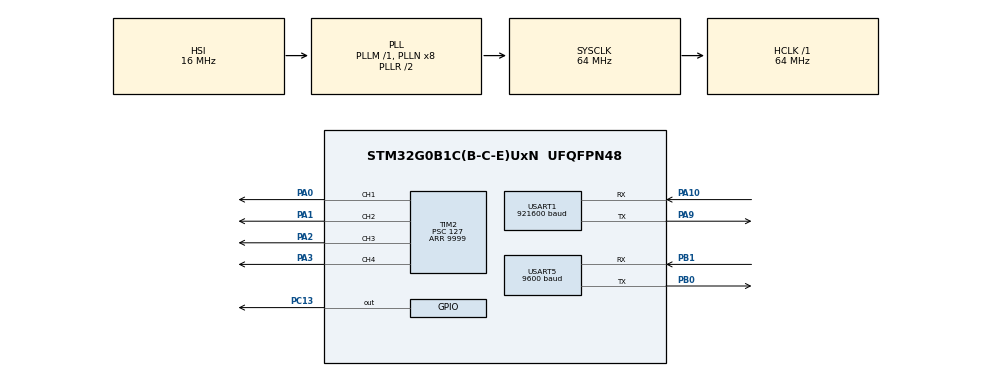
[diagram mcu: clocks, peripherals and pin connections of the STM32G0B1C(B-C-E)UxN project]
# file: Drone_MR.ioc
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Dma.Request0=USART1_RX
Dma.Request1=USART5_RX
Dma.USART1_RX.0.Direction=DMA_PERIPH_TO_MEMORY
Dma.USART1_RX.0.EventEnable=DISABLE
Dma.USART1_RX.0.Instance=DMA1_Channel1
Dma.USART1_RX.0.MemDataAlignment=DMA_MDATAALIGN_BYTE
Dma.USART1_RX.0.MemInc=DMA_MINC_ENABLE
Dma.USART1_RX.0.Mode=DMA_CIRCULAR
Dma.USART1_RX.0.PeriphDataAlignment=DMA_PDATAALIGN_BYTE
Dma.USART1_RX.0.PeriphInc=DMA_PINC_DISABLE
Dma.USART1_RX.0.Polarity=HAL_DMAMUX_REQ_GEN_RISING
Dma.USART1_RX.0.Priority=DMA_PRIORITY_LOW
Dma.USART1_RX.0.RequestNumber=1
Dma.USART1_RX.0.SignalID=NONE
Dma.USART1_RX.0.SyncEnable=DISABLE
Dma.USART1_RX.0.SyncPolarity=HAL_DMAMUX_SYNC_NO_EVENT
Dma.USART1_RX.0.SyncRequestNumber=1
Dma.USART1_RX.0.SyncSignalID=NONE
Dma.USART5_RX.1.Direction=DMA_PERIPH_TO_MEMORY
Dma.USART5_RX.1.EventEnable=DISABLE
Dma.USART5_RX.1.Instance=DMA1_Channel2
Dma.USART5_RX.1.MemDataAlignment=DMA_MDATAALIGN_BYTE
Dma.USART5_RX.1.MemInc=DMA_MINC_ENABLE
Dma.USART5_RX.1.Mode=DMA_NORMAL
Dma.USART5_RX.1.PeriphDataAlignment=DMA_PDATAALIGN_BYTE
Dma.USART5_RX.1.PeriphInc=DMA_PINC_DISABLE
Dma.USART5_RX.1.Polarity=HAL_DMAMUX_REQ_GEN_RISING
Dma.USART5_RX.1.Priority=DMA_PRIORITY_LOW
Dma.USART5_RX.1.RequestNumber=1
Dma.USART5_RX.1.SignalID=NONE
Dma.USART5_RX.1.SyncEnable=DISABLE
Dma.USART5_RX.1.SyncPolarity=HAL_DMAMUX_SYNC_NO_EVENT
Dma.USART5_RX.1.SyncRequestNumber=1
Dma.USART5_RX.1.SyncSignalID=NONE
Mcu.Family=STM32G0
Mcu.Name=STM32G0B1C(B-C-E)UxN
Mcu.Package=UFQFPN48
NVIC.DMA1_Channel1_IRQn=true\:0\:0\:false\:false\:true\:false\:true\:true
NVIC.DMA1_Channel2_3_IRQn=true\:0\:0\:false\:false\:true\:false\:true\:true
PA0.Signal=S_TIM2_CH1_ETR
PA1.Signal=S_TIM2_CH2
PA10.Mode=Asynchronous
PA10.Signal=USART1_RX
PA2.Signal=S_TIM2_CH3
PA3.Signal=S_TIM2_CH4
PA9.Mode=Asynchronous
PA9.Signal=USART1_TX
PB0.Mode=Asynchronous
PB0.Signal=USART5_TX
PB1.Mode=Asynchronous
PB1.Signal=USART5_RX
PC13.Signal=GPIO_Output
ProjectManager.HeapSize=0x200
ProjectManager.StackSize=0x400
ProjectManager.TargetToolchain=STM32CubeIDE
RCC.ADCFreq_Value=64000000
RCC.AHBFreq_Value=64000000
RCC.CortexFreq_Value=64000000
RCC.EXTERNAL_CLOCK_VALUE=48000
RCC.HCLKFreq_Value=64000000
RCC.HSE_VALUE=8000000
RCC.HSI48_VALUE=48000000
RCC.HSI_VALUE=16000000
RCC.LSE_VALUE=32768
RCC.SYSCLKFreq_VALUE=64000000
RCC.SYSCLKSource=RCC_SYSCLKSOURCE_PLLCLK
RCC.USBFreq_Value=48000000
RCC.VCOOutputFreq_Value=128000000
SH.S_TIM2_CH1_ETR.0=TIM2_CH1,PWM Generation1 CH1
SH.S_TIM2_CH2.0=TIM2_CH2,PWM Generation2 CH2
SH.S_TIM2_CH3.0=TIM2_CH3,PWM Generation3 CH3
SH.S_TIM2_CH4.0=TIM2_CH4,PWM Generation4 CH4
TIM2.Channel-PWM\ Generation1\ CH1=TIM_CHANNEL_1
TIM2.Channel-PWM\ Generation2\ CH2=TIM_CHANNEL_2
TIM2.Channel-PWM\ Generation3\ CH3=TIM_CHANNEL_3
TIM2.Channel-PWM\ Generation4\ CH4=TIM_CHANNEL_4
TIM2.Period=9999
TIM2.Prescaler=127
USART1.BaudRate=921600
USART1.VirtualMode-Asynchronous=VM_ASYNC
USART5.BaudRate=9600
USART5.VirtualMode-Asynchronous=VM_ASYNC
VP_SYS_VS_DBSignals.Mode=DisableDeadBatterySignals
VP_TIM1_VS_ClockSourceINT.Mode=Internal
VP_TIM2_VS_ClockSourceINT.Mode=Internal
board=custom

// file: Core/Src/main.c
/* USER CODE BEGIN Header */
/**
  ******************************************************************************
  * @file           : main.c
  * @brief          : Main program body
  ******************************************************************************
  * @attention
  *
  * Copyright (c) 2023 STMicroelectronics.
  * All rights reserved.
  *
  * This software is licensed under terms that can be found in the LICENSE file
  * in the root directory of this software component.
  * If no LICENSE file comes with this software, it is provided AS-IS.
  *
  ******************************************************************************
  */
/* USER CODE END Header */
#include "main.h"

/* USER CODE BEGIN Includes */
#include "PID.h"
#include "‏‏PID_Tune_Online .h"
#include "../ESC_Initializationn/ESC_Initialization.h"
#include "Draw_Parameter.h"

#define OK1  0
#define OK2  0
#define OK3  1

int16_t m[8];
float dt,Loop_time,end_time,start_time;
float p_y,i_y,d_y,error_y,perror_y;
float p_x,i_x,d_x,error_x,perror_x;
int angle_x,angle_y,angle_z,w_x,w_y,w_z;
int pid_x,pid_y;
pid_Status pidx ;
pidA_Status pidy ;

float kpa =0 ,kia =0,kda =0;
float kpb =0 ,kib =0,kdb =0;
int data[1];

#if(OK3==1)

float s_y,u_y;
int sgn_y ;

float s_x,u_x;
int sgn_x ;

float s_z,u_z;
int sgn_z,zz ;

#endif
/* USER CODE END Includes */

/* USER CODE BEGIN PD */
#define Resolution 3
#define Normal_speed 750
#define c_y 3
#define k_y 3
#define q_y 0.01
#define c_x 1
#define k_x 1
#define q_x 1
#define c_z 1
#define k_z 1
#define q_z 1
#define mm 0.8
#define gg 9.8

/* USER CODE END PD */

 TIM_HandleTypeDef htim1;
TIM_HandleTypeDef htim2;

UART_HandleTypeDef huart1;
UART_HandleTypeDef huart5;
DMA_HandleTypeDef hdma_usart1_rx;
DMA_HandleTypeDef hdma_usart5_rx;

void SystemClock_Config(void);
static void MX_GPIO_Init(void);
static void MX_DMA_Init(void);
static void MX_USART1_UART_Init(void);
static void MX_TIM2_Init(void);
static void MX_TIM1_Init(void);
static void MX_USART5_UART_Init(void);

int main(void)
{

  /* MCU Configuration--------------------------------------------------------*/

  /* Reset of all peripherals, Initializes the Flash interface and the Systick. */
  HAL_Init();

  /* Configure the system clock */
  SystemClock_Config();

  /* Initialize all configured peripherals */
  MX_GPIO_Init();
  MX_DMA_Init();
  MX_USART1_UART_Init();
  MX_TIM2_Init();
  MX_TIM1_Init();
  MX_USART5_UART_Init();
  /* USER CODE BEGIN 2 */

//  HAL_UART_Receive_DMA(&huart1, &m[0], 16);

//  ESC_Initialization();

  /* USER CODE END 2 */

  /* Infinite loop */
  /* USER CODE BEGIN WHILE */

  dw[3]=dw[1]=dw[2]=48;

  HAL_GPIO_WritePin(GPIOC, GPIO_PIN_13, SET);
  while (1)
  {

	  HAL_UART_Receive_DMA(&huart1, &m[0],16);
//	  HAL_UART_Receive(&huart1, &m[0],16, 0xffff);

	  angle_x=m[0];
	  angle_y=m[1];
	  angle_z=m[2];
	  w_x=m[3];
	  w_y=m[4];
	  w_z=m[5];

	  start_time=HAL_GetTick();

#if (OK1==1)

	  HAL_Delay(1);

pidx=	  PID_CONTROL(0.8, 0.1, 0.0, -5, m[1], Resolution, dt, &p_x, &i_x, &d_x, &error_x);

	  pid_x=p_x+i_x+d_x;

	  	  htim2.Instance->CCR4 = Normal_speed+pid_x;

	  	  htim2.Instance->CCR3 = Normal_speed+pid_x;

	  	  htim2.Instance->CCR1 = Normal_speed-pid_x;

	  	  htim2.Instance->CCR2 = Normal_speed-pid_x;

pidy=	  PIDA_CONTROL(2.0, 0.8, 0.001, 0, angle_y, Resolution, dt, &p_y, &i_y, &d_y, &error_y);

	  pid_y=p_y+i_y+d_y;

	      htim2.Instance->CCR4 = Normal_speed+pid_x;

	  	  htim2.Instance->CCR3 = Normal_speed+pid_x;

	  	  htim2.Instance->CCR1 = Normal_speed-pid_x;

	  	  htim2.Instance->CCR2 = Normal_speed-pid_x;

	  htim2.Instance->CCR3=max(htim2.Instance->CCR3, 750, 600);

	  htim2.Instance->CCR2=max(htim2.Instance->CCR2, 750, 600);

	  htim2.Instance->CCR4=max(htim2.Instance->CCR4, 750, 600);

	  htim2.Instance->CCR1=max(htim2.Instance->CCR1, 750, 600);

#endif

#if(OK2==1)

	  angle_x=m[0];
	  angle_y=m[1];
	  angle_z=m[2];
	  w_x=m[3];
	  w_y=m[4];
	  w_z=m[5];

	  PID_CONTROL(2.5, 0, 0.0, -6, angle_y, 2, dt, &p_x, &i_x, &d_x, &error_x);

	  pid_x=p_x+i_x+d_x;

	  PIDA_CONTROL(0.2, 0.2, 0, pid_x, w_y, 3, dt, &p_y, &i_y, &d_y, &error_y);

	  pid_y=p_y+i_y+d_y;

  	  htim2.Instance->CCR4 = Normal_speed+pid_y;

  	  htim2.Instance->CCR3 = Normal_speed+pid_y;

  	  htim2.Instance->CCR1 = Normal_speed-pid_y;

  	  htim2.Instance->CCR2 = Normal_speed-pid_y;

	  htim2.Instance->CCR3=max(htim2.Instance->CCR3, 750, 600);

	  htim2.Instance->CCR2=max(htim2.Instance->CCR2, 750, 600);

	  htim2.Instance->CCR4=max(htim2.Instance->CCR4, 750, 600);

	  htim2.Instance->CCR1=max(htim2.Instance->CCR1, 750, 600);

#endif

#if(OK3==1)

	  s_y=(-w_y)+(c_y* (10-angle_y) );
	  if(s_y>0)
	  {sgn_y=1;}
	  if(s_y<0)
	  {sgn_y=-1;}
	  if(s_y==0)
	  {sgn_y=0;}
	  u_y=0.052233*((-0.80855*w_x*w_z)+(0.001631*w_x)-(c_y*w_y)+(k_y*s_y)+(q_y*sgn_y));

	  htim2.Instance->CCR4 = Normal_speed+u_y;

	  htim2.Instance->CCR3 = Normal_speed+u_y;

	  htim2.Instance->CCR1 = Normal_speed-u_y;

	  htim2.Instance->CCR2 = Normal_speed-u_y;

	  data[0]=angle_y;

	  drow(m[1], start_time);

	  HAL_UART_Transmit(&huart5, &data[0], 1, 0xffff);

	  s_x=(-w_x)+(c_x* - angle_x);
	  if(s_x>0)
	  {sgn_x=1;}
	  if(s_x<0)
	  {sgn_x=-1;}
	  if(s_x==0)
	  {sgn_x=0;}
	  u_x=0.052233*((-0.80855*w_y*w_z)-(0.003835*w_y)-(c_x*w_x)+(k_x*s_x)+(q_x*sgn_x));

	  s_z=c_z*(0-zz);
	  if(s_z>0)
	  {sgn_z=1;}
  	  if(s_z<0)
	  {sgn_z=-1;}
	  if(s_z==0)
	  {sgn_z=0;}
	  u_z=mm*(gg+(k_z*s_z)+(q_z*sgn_z*s_z));

#endif

	  end_time=HAL_GetTick();

	  Loop_time=end_time-start_time;

	  dt=Loop_time/1000;

    /* USER CODE END WHILE */

  }
}

void SystemClock_Config(void)
{
  RCC_OscInitTypeDef RCC_OscInitStruct = {0};
  RCC_ClkInitTypeDef RCC_ClkInitStruct = {0};

  /** Configure the main internal regulator output voltage
  */
  HAL_PWREx_ControlVoltageScaling(PWR_REGULATOR_VOLTAGE_SCALE1);

  /** Initializes the RCC Oscillators according to the specified parameters
  * in the RCC_OscInitTypeDef structure.
  */
  RCC_OscInitStruct.OscillatorType = RCC_OSCILLATORTYPE_HSI;
  RCC_OscInitStruct.HSIState = RCC_HSI_ON;
  RCC_OscInitStruct.HSIDiv = RCC_HSI_DIV1;
  RCC_OscInitStruct.HSICalibrationValue = RCC_HSICALIBRATION_DEFAULT;
  RCC_OscInitStruct.PLL.PLLState = RCC_PLL_ON;
  RCC_OscInitStruct.PLL.PLLSource = RCC_PLLSOURCE_HSI;
  RCC_OscInitStruct.PLL.PLLM = RCC_PLLM_DIV1;
  RCC_OscInitStruct.PLL.PLLN = 8;
  RCC_OscInitStruct.PLL.PLLP = RCC_PLLP_DIV2;
  RCC_OscInitStruct.PLL.PLLQ = RCC_PLLQ_DIV2;
  RCC_OscInitStruct.PLL.PLLR = RCC_PLLR_DIV2;
  if (HAL_RCC_OscConfig(&RCC_OscInitStruct) != HAL_OK)
  {
    Error_Handler();
  }

  /** Initializes the CPU, AHB and APB buses clocks
  */
  RCC_ClkInitStruct.ClockType = RCC_CLOCKTYPE_HCLK|RCC_CLOCKTYPE_SYSCLK
                              |RCC_CLOCKTYPE_PCLK1;
  RCC_ClkInitStruct.SYSCLKSource = RCC_SYSCLKSOURCE_PLLCLK;
  RCC_ClkInitStruct.AHBCLKDivider = RCC_SYSCLK_DIV1;
  RCC_ClkInitStruct.APB1CLKDivider = RCC_HCLK_DIV1;

  if (HAL_RCC_ClockConfig(&RCC_ClkInitStruct, FLASH_LATENCY_2) != HAL_OK)
  {
    Error_Handler();
  }
}

static void MX_TIM1_Init(void)
{

  TIM_ClockConfigTypeDef sClockSourceConfig = {0};
  TIM_MasterConfigTypeDef sMasterConfig = {0};

  htim1.Instance = TIM1;
  htim1.Init.Prescaler = 0;
  htim1.Init.CounterMode = TIM_COUNTERMODE_UP;
  htim1.Init.Period = 65535;
  htim1.Init.ClockDivision = TIM_CLOCKDIVISION_DIV1;
  htim1.Init.RepetitionCounter = 0;
  htim1.Init.AutoReloadPreload = TIM_AUTORELOAD_PRELOAD_DISABLE;
  if (HAL_TIM_Base_Init(&htim1) != HAL_OK)
  {
    Error_Handler();
  }
  sClockSourceConfig.ClockSource = TIM_CLOCKSOURCE_INTERNAL;
  if (HAL_TIM_ConfigClockSource(&htim1, &sClockSourceConfig) != HAL_OK)
  {
    Error_Handler();
  }
  sMasterConfig.MasterOutputTrigger = TIM_TRGO_RESET;
  sMasterConfig.MasterOutputTrigger2 = TIM_TRGO2_RESET;
  sMasterConfig.MasterSlaveMode = TIM_MASTERSLAVEMODE_DISABLE;
  if (HAL_TIMEx_MasterConfigSynchronization(&htim1, &sMasterConfig) != HAL_OK)
  {
    Error_Handler();
  }

}

static void MX_TIM2_Init(void)
{

  TIM_ClockConfigTypeDef sClockSourceConfig = {0};
  TIM_MasterConfigTypeDef sMasterConfig = {0};
  TIM_OC_InitTypeDef sConfigOC = {0};

  htim2.Instance = TIM2;
  htim2.Init.Prescaler = 127;
  htim2.Init.CounterMode = TIM_COUNTERMODE_UP;
  htim2.Init.Period = 9999;
  htim2.Init.ClockDivision = TIM_CLOCKDIVISION_DIV1;
  htim2.Init.AutoReloadPreload = TIM_AUTORELOAD_PRELOAD_DISABLE;
  if (HAL_TIM_Base_Init(&htim2) != HAL_OK)
  {
    Error_Handler();
  }
  sClockSourceConfig.ClockSource = TIM_CLOCKSOURCE_INTERNAL;
  if (HAL_TIM_ConfigClockSource(&htim2, &sClockSourceConfig) != HAL_OK)
  {
    Error_Handler();
  }
  if (HAL_TIM_PWM_Init(&htim2) != HAL_OK)
  {
    Error_Handler();
  }
  sMasterConfig.MasterOutputTrigger = TIM_TRGO_RESET;
  sMasterConfig.MasterSlaveMode = TIM_MASTERSLAVEMODE_DISABLE;
  if (HAL_TIMEx_MasterConfigSynchronization(&htim2, &sMasterConfig) != HAL_OK)
  {
    Error_Handler();
  }
  sConfigOC.OCMode = TIM_OCMODE_PWM1;
  sConfigOC.Pulse = 0;
  sConfigOC.OCPolarity = TIM_OCPOLARITY_HIGH;
  sConfigOC.OCFastMode = TIM_OCFAST_DISABLE;
  if (HAL_TIM_PWM_ConfigChannel(&htim2, &sConfigOC, TIM_CHANNEL_1) != HAL_OK)
  {
    Error_Handler();
  }
  if (HAL_TIM_PWM_ConfigChannel(&htim2, &sConfigOC, TIM_CHANNEL_2) != HAL_OK)
  {
    Error_Handler();
  }
  if (HAL_TIM_PWM_ConfigChannel(&htim2, &sConfigOC, TIM_CHANNEL_3) != HAL_OK)
  {
    Error_Handler();
  }
  if (HAL_TIM_PWM_ConfigChannel(&htim2, &sConfigOC, TIM_CHANNEL_4) != HAL_OK)
  {
    Error_Handler();
  }
  HAL_TIM_MspPostInit(&htim2);

}

static void MX_USART1_UART_Init(void)
{

  huart1.Instance = USART1;
  huart1.Init.BaudRate = 921600;
  huart1.Init.WordLength = UART_WORDLENGTH_8B;
  huart1.Init.StopBits = UART_STOPBITS_1;
  huart1.Init.Parity = UART_PARITY_NONE;
  huart1.Init.Mode = UART_MODE_TX_RX;
  huart1.Init.HwFlowCtl = UART_HWCONTROL_NONE;
  huart1.Init.OverSampling = UART_OVERSAMPLING_16;
  huart1.Init.OneBitSampling = UART_ONE_BIT_SAMPLE_DISABLE;
  huart1.Init.ClockPrescaler = UART_PRESCALER_DIV1;
  huart1.AdvancedInit.AdvFeatureInit = UART_ADVFEATURE_NO_INIT;
  if (HAL_UART_Init(&huart1) != HAL_OK)
  {
    Error_Handler();
  }
  if (HAL_UARTEx_SetTxFifoThreshold(&huart1, UART_TXFIFO_THRESHOLD_1_8) != HAL_OK)
  {
    Error_Handler();
  }
  if (HAL_UARTEx_SetRxFifoThreshold(&huart1, UART_RXFIFO_THRESHOLD_1_8) != HAL_OK)
  {
    Error_Handler();
  }
  if (HAL_UARTEx_DisableFifoMode(&huart1) != HAL_OK)
  {
    Error_Handler();
  }

}

static void MX_USART5_UART_Init(void)
{

  huart5.Instance = USART5;
  huart5.Init.BaudRate = 9600;
  huart5.Init.WordLength = UART_WORDLENGTH_8B;
  huart5.Init.StopBits = UART_STOPBITS_1;
  huart5.Init.Parity = UART_PARITY_NONE;
  huart5.Init.Mode = UART_MODE_TX_RX;
  huart5.Init.HwFlowCtl = UART_HWCONTROL_NONE;
  huart5.Init.OverSampling = UART_OVERSAMPLING_16;
  huart5.Init.OneBitSampling = UART_ONE_BIT_SAMPLE_DISABLE;
  huart5.Init.ClockPrescaler = UART_PRESCALER_DIV1;
  huart5.AdvancedInit.AdvFeatureInit = UART_ADVFEATURE_NO_INIT;
  if (HAL_UART_Init(&huart5) != HAL_OK)
  {
    Error_Handler();
  }

}

static void MX_DMA_Init(void)
{

  /* DMA controller clock enable */
  __HAL_RCC_DMA1_CLK_ENABLE();

  /* DMA interrupt init */
  /* DMA1_Channel1_IRQn interrupt configuration */
  HAL_NVIC_SetPriority(DMA1_Channel1_IRQn, 0, 0);
  HAL_NVIC_EnableIRQ(DMA1_Channel1_IRQn);
  /* DMA1_Channel2_3_IRQn interrupt configuration */
  HAL_NVIC_SetPriority(DMA1_Channel2_3_IRQn, 0, 0);
  HAL_NVIC_EnableIRQ(DMA1_Channel2_3_IRQn);

}

static void MX_GPIO_Init(void)
{
  GPIO_InitTypeDef GPIO_InitStruct = {0};

  /* GPIO Ports Clock Enable */
  __HAL_RCC_GPIOC_CLK_ENABLE();
  __HAL_RCC_GPIOA_CLK_ENABLE();
  __HAL_RCC_GPIOB_CLK_ENABLE();

  /*Configure GPIO pin Output Level */
  HAL_GPIO_WritePin(GPIOC, GPIO_PIN_13, GPIO_PIN_RESET);

  /*Configure GPIO pin : PC13 */
  GPIO_InitStruct.Pin = GPIO_PIN_13;
  GPIO_InitStruct.Mode = GPIO_MODE_OUTPUT_PP;
  GPIO_InitStruct.Pull = GPIO_NOPULL;
  GPIO_InitStruct.Speed = GPIO_SPEED_FREQ_LOW;
  HAL_GPIO_Init(GPIOC, &GPIO_InitStruct);

}

void Error_Handler(void)
{
  __disable_irq();
  while (1)
  {
  }
}
